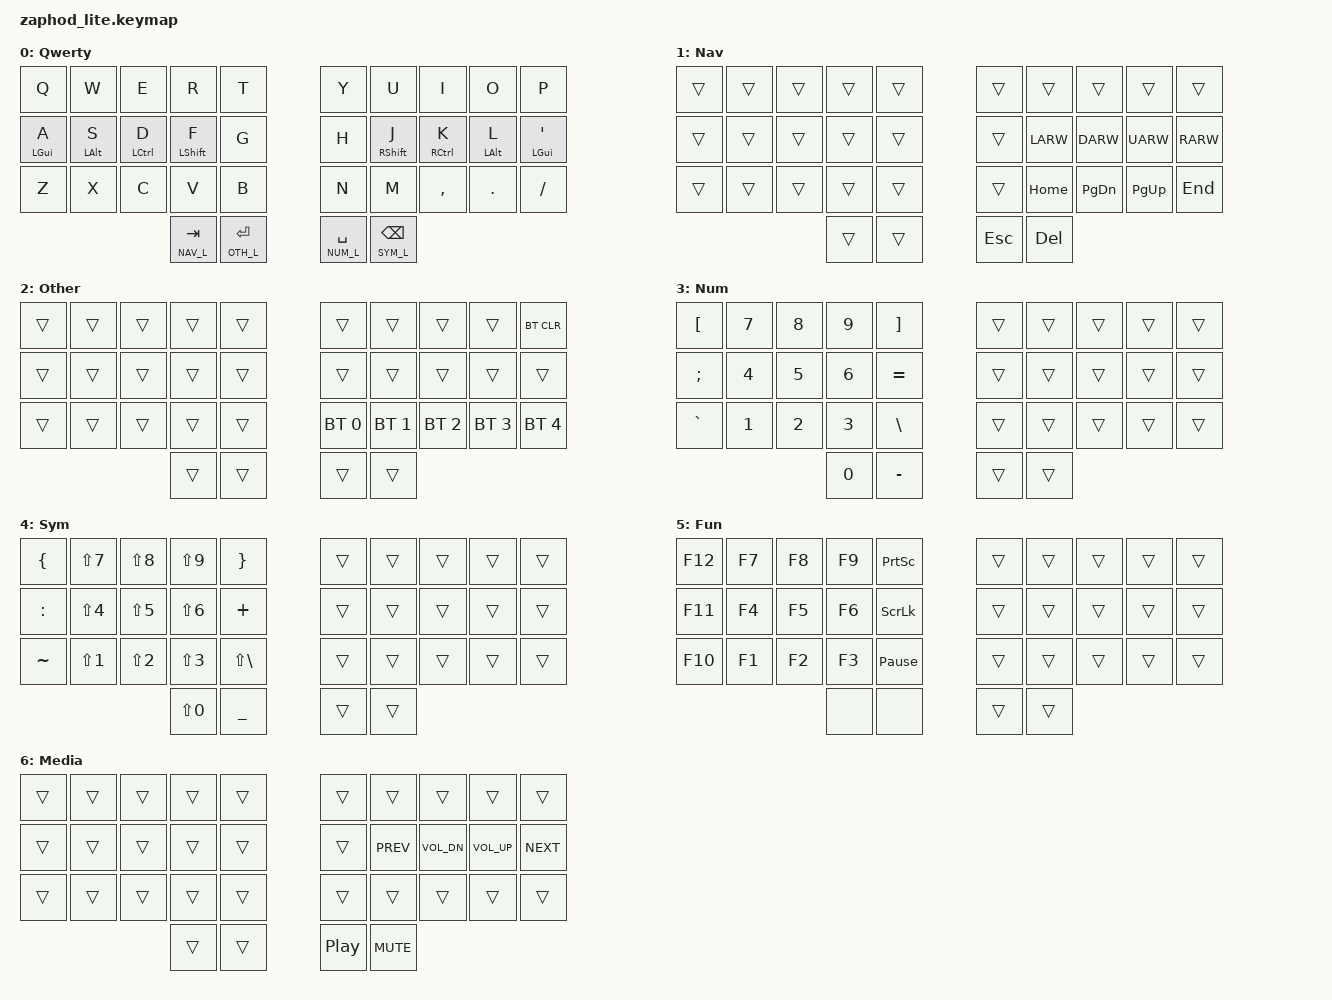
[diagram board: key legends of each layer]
/*
 * Copyright (c) 2021 Pete Johanson
 *
 * SPDX-License-Identifier: MIT
 */

#include <behaviors.dtsi>
#include <dt-bindings/zmk/keys.h>
#include <dt-bindings/zmk/bt.h>
#include <dt-bindings/zmk/outputs.h>

#define QWERTY_BASE

#define NAV_L 1
#define OTH_L 2
#define NUM_L 3
#define SYM_L 4
#define FUN_L 5
#define MED_L 6

// Using layer taps on thumbs, having quick tap as well helps w/ repeating space/backspace
&lt { quick_tap_ms = <200>; };

/ {
    combos {
        compatible = "zmk,combos";

        fn_mo {
	    timeout-ms = <50>;
            key-positions = <32 33>;
            bindings = <&mo FUN_L>;
        };

        media_mo {
	    timeout-ms = <50>;
            key-positions = <30 31>;
            bindings = <&mo MED_L>;
        };

	/*
        caps_word_combo {
	    timeout-ms = <50>;
            key-positions = <13 16>;
            bindings = <&caps_word>;
        };
	*/
    };

    behaviors {
        hm: homerow_mods {
            compatible = "zmk,behavior-hold-tap";
            label = "homerow mods";
            #binding-cells = <2>;
            tapping_term_ms = <200>;
            flavor = "tap-preferred";
            bindings = <&kp>, <&kp>;
        };
    };

    keymap {
        compatible = "zmk,keymap";

#ifdef QWERTY_BASE
        qwerty_layer {
            label = "Qwerty";
            bindings = <
                &kp Q      &kp W      &kp E       &kp R          &kp T         &kp Y            &kp U          &kp I       &kp O      &kp P
                &hm LGUI A &hm LALT S &hm LCTRL D &hm LSHFT F    &kp G         &kp H            &hm RSHFT J    &hm RCTRL K &hm LALT L &hm LGUI QUOT
                &kp Z      &kp X      &kp C       &kp V          &kp B         &kp N            &kp M          &kp COMMA   &kp DOT    &kp FSLH
                                                  &lt NAV_L TAB  &lt OTH_L RET &lt NUM_L SPACE  &lt SYM_L BKSP
            >;
        };
#else
        colemak_dhm_layer {
            label = "Colemak-DHm";
            bindings = <
                &kp Q      &kp W      &kp F       &kp P          &kp B         &kp J            &kp L          &kp U       &kp Y      &kp QUOT
                &hm LGUI A &hm LALT R &hm LCTRL S &hm LSHFT T    &kp G         &kp M            &hm RSHFT N    &hm RCTRL E &hm LALT I &hm LGUI O
                &kp Z      &kp X      &kp C       &kp D          &kp V         &kp K            &kp H          &kp COMMA   &kp DOT    &kp FSLH     
                                                  &lt NAV_L TAB  &lt OTH_L RET &lt NUM_L SPACE  &lt SYM_L BKSP
            >;
        };
#endif

        nav_layer {
            label = "Nav";
            bindings = <
                &trans     &trans     &trans      &trans          &trans       &trans           &trans         &trans      &trans     &trans
                &trans     &trans     &trans      &trans          &trans       &trans           &kp LARW       &kp DARW    &kp UARW   &kp RARW
                &trans     &trans     &trans      &trans          &trans       &trans           &kp HOME       &kp PG_DN   &kp PG_UP  &kp END
                                                  &trans          &trans       &kp ESC          &kp DEL
            >;
        };

        other_layer {
            label = "Other";
            bindings = <
                &trans	   &trans     &trans      &trans          &trans       &trans           &trans         &trans       &trans       &bt BT_CLR
                &trans     &trans     &trans      &trans          &trans       &trans           &trans         &trans       &trans       &trans
                &trans     &trans     &trans      &trans          &trans       &bt BT_SEL 0     &bt BT_SEL 1   &bt BT_SEL 2 &bt BT_SEL 3 &bt BT_SEL 4
                                                  &trans          &trans       &trans           &trans
            >;
        };

        num_layer {
            label = "Num";
            bindings = <
                &kp LBKT   &kp N7     &kp N8      &kp N9          &kp RBKT      &trans          &trans         &trans      &trans     &trans
                &kp SEMI   &kp N4     &kp N5      &kp N6          &kp EQUAL     &trans          &trans         &trans      &trans     &trans
                &kp GRAVE  &kp N1     &kp N2      &kp N3          &kp BSLH      &trans          &trans         &trans      &trans     &trans
                                                  &kp N0          &kp MINUS     &trans          &trans
            >;
        };

        sym_layer {
            label = "Sym";
            bindings = <
                &kp LBRC     &kp LS(N7)  &kp LS(N8)  &kp LS(N9) &kp RBRC        &trans &trans   &trans    &trans    &trans
                &kp COLON    &kp LS(N4)  &kp LS(N5)  &kp LS(N6) &kp PLUS        &trans &trans   &trans    &trans    &trans
                &kp TILDE    &kp LS(N1)  &kp LS(N2)  &kp LS(N3) &kp LS(BSLH)    &trans &trans   &trans    &trans    &trans
                                                   &kp LS(N0) &kp UNDER         &trans &trans
            >;
        };

        fun_layer {
            label = "Fun";
            bindings = <
                &kp F12     &kp F7     &kp F8      &kp F9     &kp PSCRN         &trans          &trans         &trans      &trans     &trans
                &kp F11     &kp F4     &kp F5      &kp F6     &kp SLCK          &trans          &trans         &trans      &trans     &trans
                &kp F10     &kp F1     &kp F2      &kp F3     &kp PAUSE_BREAK   &trans          &trans         &trans      &trans     &trans
                                                   &none      &none             &trans          &trans
            >;
        };
        media_layer {
            label = "Media";
            bindings = <
                &trans	   &trans     &trans      &trans          &trans       &trans           &trans         &trans       &trans       &trans
                &trans     &trans     &trans      &trans          &trans       &trans           &kp C_PREV     &kp C_VOL_DN &kp C_VOL_UP &kp C_NEXT
                &trans     &trans     &trans      &trans          &trans       &trans           &trans         &trans       &trans       &trans
                                                  &trans          &trans       &kp C_PLAY_PAUSE &kp C_MUTE
            >;
        };
    };
};

